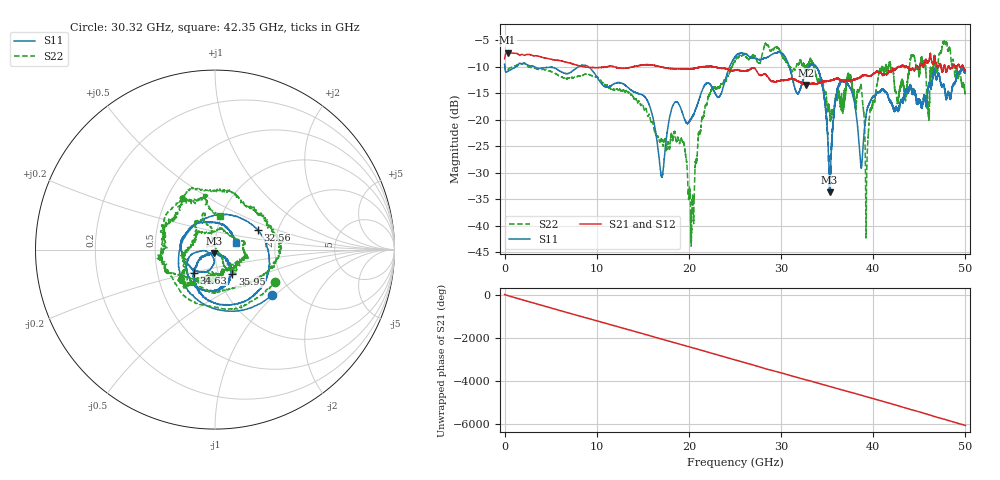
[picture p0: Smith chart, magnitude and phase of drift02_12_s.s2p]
!Created with skrf (http://scikit-rf.org).
# Hz S RI R 50.0
!freq ReS11 ImS11 ReS21 ImS21 ReS12 ImS12 ReS22 ImS22
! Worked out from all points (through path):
!   10001 points, 300 kHz to 50 GHz, reference 50 ohm
!   highest |S21| = -7.31 dB at 325.3 MHz (marker M1); lowest = -13.4 dB at 32.72 GHz (marker M2)
!   group delay of S21, straight-line fit = 335 ps
!   lowest |S11| = -33.7 dB at 35.26 GHz (marker M3), VSWR 1.04, Z = 49.3 - j1.94 ohm
!   |S11| at or under -10 dB: 3.237 GHz to 8.008 GHz (4.771 GHz wide, 84.9 % of centre); 9.095 GHz to 24.41 GHz (15.32 GHz wide, 91.4 % of centre); 33.83 GHz to end of sweep (the widest 3 of 9)
!   |S22| runs from -43.9 to -5.0 dB; largest |S21 - S12| = 0.015
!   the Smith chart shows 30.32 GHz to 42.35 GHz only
!   S11 on the Smith chart (normalised r, x): 30.32 GHz: 1.58, -0.96; 32.56 GHz: 1.57, +0.37; 34.63 GHz: 0.77, -0.20; 35.95 GHz: 1.17, -0.33; 42.35 GHz: 1.27, +0.09
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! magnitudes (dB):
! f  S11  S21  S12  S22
! 300 kHz  -9.5  -8.5  -8.4  -9.5
! 325.3 MHz  -10.9  -7.3  -7.3  -10.6
! 8.335 GHz  -9.7  -9.9  -9.9  -11.6
! 16.67 GHz  -25.9  -9.9  -9.9  -23.3
! 19.32 GHz  -18.8  -10.4  -10.4  -24.3
! 20.35 GHz  -19.5  -10.4  -10.4  -35.6
! 21.94 GHz  -13.1  -10.0  -10.0  -17.0
! 25 GHz  -8.2  -10.6  -10.7  -9.0
! 30.32 GHz  -7.8  -12.6  -12.6  -8.5
! 32.56 GHz  -11.6  -13.2  -13.3  -9.8
! 32.72 GHz  -11.0  -13.4  -13.5  -10.2
! 33.34 GHz  -9.5  -13.1  -13.2  -9.0
! 34.63 GHz  -15.2  -12.8  -12.8  -14.1
! 35.26 GHz  -33.7  -12.6  -12.6  -18.6
! 35.95 GHz  -15.5  -12.3  -12.2  -15.5
! 37.51 GHz  -14.0  -12.6  -12.7  -11.4
! 38.57 GHz  -26.7  -12.0  -12.0  -13.8
! 39.3 GHz  -18.3  -11.6  -11.7  -29.4
! 41.67 GHz  -15.9  -10.9  -11.1  -9.9
! 42.35 GHz  -18.1  -10.5  -10.5  -14.5
! 47.76 GHz  -14.2  -9.8  -9.7  -5.3
! 50 GHz  -11.2  -10.8  -10.8  -14.8
